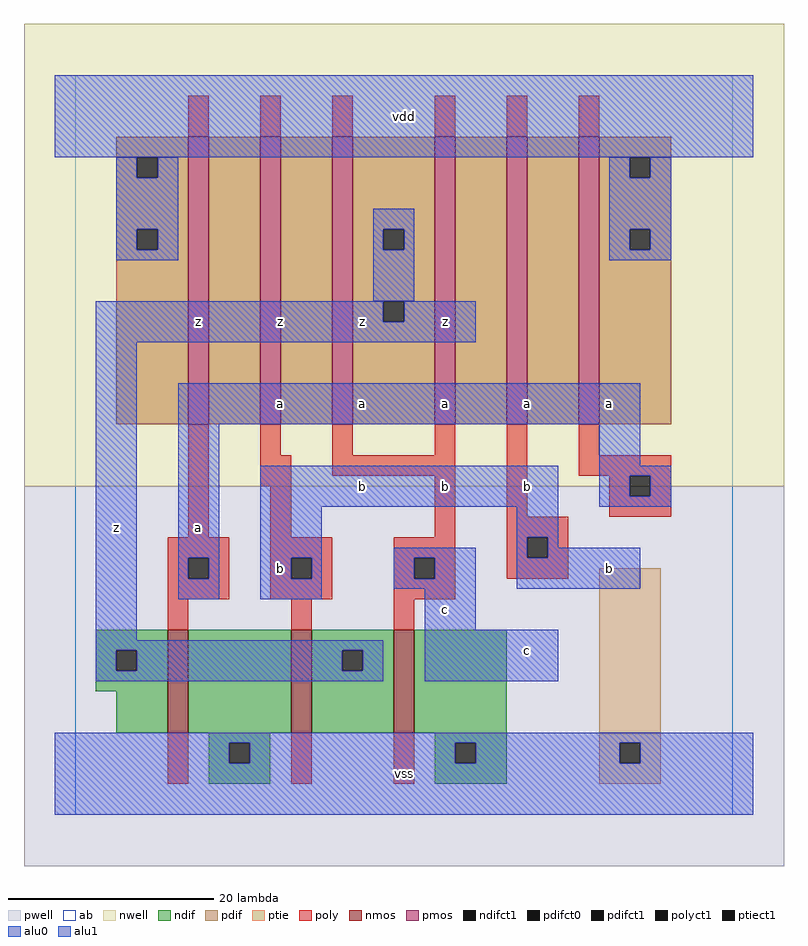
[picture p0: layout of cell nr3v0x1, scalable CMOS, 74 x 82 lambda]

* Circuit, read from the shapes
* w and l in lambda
.subckt nr3v0x1 a b c vdd vss z
M1 vss a z vss nfet w=10 l=2
M2 z b vss vss nfet w=10 l=2
M3 vss c z vss nfet w=10 l=2
M4 n1 a vdd n2 pfet w=28 l=2
M5 n3 b n1 n2 pfet w=28 l=2
M6 z c n3 n2 pfet w=28 l=2
M7 n4 c z n2 pfet w=28 l=2
M8 n5 b n4 n2 pfet w=28 l=2
M9 vdd a n5 n2 pfet w=28 l=2
.ends

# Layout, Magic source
magic
tech scmos
<< ab >>
rect 0 0 64 72
<< nwell >>
rect -5 32 69 77
<< pwell >>
rect -5 -5 69 32
<< poly >>
rect 11 66 13 70
rect 18 66 20 70
rect 25 66 27 70
rect 35 66 37 70
rect 42 66 44 70
rect 49 66 51 70
rect 11 27 13 38
rect 18 35 20 38
rect 25 35 27 38
rect 35 35 37 38
rect 18 32 21 35
rect 25 33 37 35
rect 19 27 21 32
rect 35 27 37 33
rect 9 25 15 27
rect 9 23 11 25
rect 13 23 15 25
rect 9 21 15 23
rect 19 25 25 27
rect 19 23 21 25
rect 23 23 25 25
rect 19 21 25 23
rect 31 25 37 27
rect 31 23 33 25
rect 35 23 37 25
rect 42 29 44 38
rect 49 35 51 38
rect 49 33 58 35
rect 52 31 54 33
rect 56 31 58 33
rect 52 29 58 31
rect 42 27 48 29
rect 42 25 44 27
rect 46 25 48 27
rect 42 23 48 25
rect 31 21 37 23
rect 9 18 11 21
rect 21 18 23 21
rect 31 18 33 21
rect 9 3 11 8
rect 21 3 23 8
rect 31 3 33 8
<< ndif >>
rect 2 16 9 18
rect 2 14 4 16
rect 6 14 9 16
rect 2 12 9 14
rect 4 8 9 12
rect 11 8 21 18
rect 23 16 31 18
rect 23 14 26 16
rect 28 14 31 16
rect 23 8 31 14
rect 33 8 42 18
rect 13 7 19 8
rect 13 5 15 7
rect 17 5 19 7
rect 13 3 19 5
rect 35 7 42 8
rect 35 5 37 7
rect 39 5 42 7
rect 35 3 42 5
<< pdif >>
rect 4 64 11 66
rect 4 62 6 64
rect 8 62 11 64
rect 4 57 11 62
rect 4 55 6 57
rect 8 55 11 57
rect 4 38 11 55
rect 13 38 18 66
rect 20 38 25 66
rect 27 57 35 66
rect 27 55 30 57
rect 32 55 35 57
rect 27 50 35 55
rect 27 48 30 50
rect 32 48 35 50
rect 27 38 35 48
rect 37 38 42 66
rect 44 38 49 66
rect 51 64 58 66
rect 51 62 54 64
rect 56 62 58 64
rect 51 57 58 62
rect 51 55 54 57
rect 56 55 58 57
rect 51 38 58 55
<< alu1 >>
rect -2 64 66 72
rect 2 48 30 50
rect 32 48 39 50
rect 2 46 39 48
rect 2 17 6 46
rect 10 38 55 42
rect 10 25 14 38
rect 51 34 55 38
rect 10 23 11 25
rect 13 23 14 25
rect 10 21 14 23
rect 18 30 47 34
rect 51 33 58 34
rect 51 31 54 33
rect 56 31 58 33
rect 51 30 58 31
rect 18 25 24 30
rect 43 27 47 30
rect 18 23 21 25
rect 23 23 24 25
rect 18 21 24 23
rect 31 25 39 26
rect 31 23 33 25
rect 35 23 39 25
rect 31 22 39 23
rect 43 25 44 27
rect 46 26 47 27
rect 46 25 55 26
rect 43 22 55 25
rect 34 18 39 22
rect 2 16 30 17
rect 2 14 4 16
rect 6 14 26 16
rect 28 14 30 16
rect 2 13 30 14
rect 34 13 47 18
rect -2 7 66 8
rect -2 5 15 7
rect 17 5 37 7
rect 39 5 53 7
rect 55 5 66 7
rect -2 0 66 5
<< ptie >>
rect 51 7 57 24
rect 51 5 53 7
rect 55 5 57 7
rect 51 3 57 5
<< nmos >>
rect 9 8 11 18
rect 21 8 23 18
rect 31 8 33 18
<< pmos >>
rect 11 38 13 66
rect 18 38 20 66
rect 25 38 27 66
rect 35 38 37 66
rect 42 38 44 66
rect 49 38 51 66
<< polyct1 >>
rect 11 23 13 25
rect 21 23 23 25
rect 33 23 35 25
rect 54 31 56 33
rect 44 25 46 27
<< ndifct1 >>
rect 4 14 6 16
rect 26 14 28 16
rect 15 5 17 7
rect 37 5 39 7
<< ptiect1 >>
rect 53 5 55 7
<< pdifct0 >>
rect 6 62 8 64
rect 6 55 8 57
rect 30 55 32 57
rect 54 62 56 64
rect 54 55 56 57
<< pdifct1 >>
rect 30 48 32 50
<< alu0 >>
rect 4 62 6 64
rect 8 62 10 64
rect 4 57 10 62
rect 52 62 54 64
rect 56 62 58 64
rect 4 55 6 57
rect 8 55 10 57
rect 4 54 10 55
rect 29 57 33 59
rect 29 55 30 57
rect 32 55 33 57
rect 29 50 33 55
rect 52 57 58 62
rect 52 55 54 57
rect 56 55 58 57
rect 52 54 58 55
<< labels >>
rlabel alu1 12 28 12 28 6 a
rlabel alu1 4 28 4 28 6 z
rlabel alu1 12 48 12 48 6 z
rlabel alu1 28 32 28 32 6 b
rlabel alu1 20 24 20 24 6 b
rlabel alu1 20 40 20 40 6 a
rlabel alu1 28 40 28 40 6 a
rlabel alu1 28 48 28 48 6 z
rlabel alu1 20 48 20 48 6 z
rlabel alu1 32 4 32 4 6 vss
rlabel alu1 44 16 44 16 6 c
rlabel alu1 36 20 36 20 6 c
rlabel alu1 36 32 36 32 6 b
rlabel alu1 44 32 44 32 6 b
rlabel alu1 44 40 44 40 6 a
rlabel alu1 36 40 36 40 6 a
rlabel alu1 36 48 36 48 6 z
rlabel alu1 32 68 32 68 6 vdd
rlabel alu1 52 24 52 24 6 b
rlabel alu1 52 40 52 40 6 a
<< end >>
